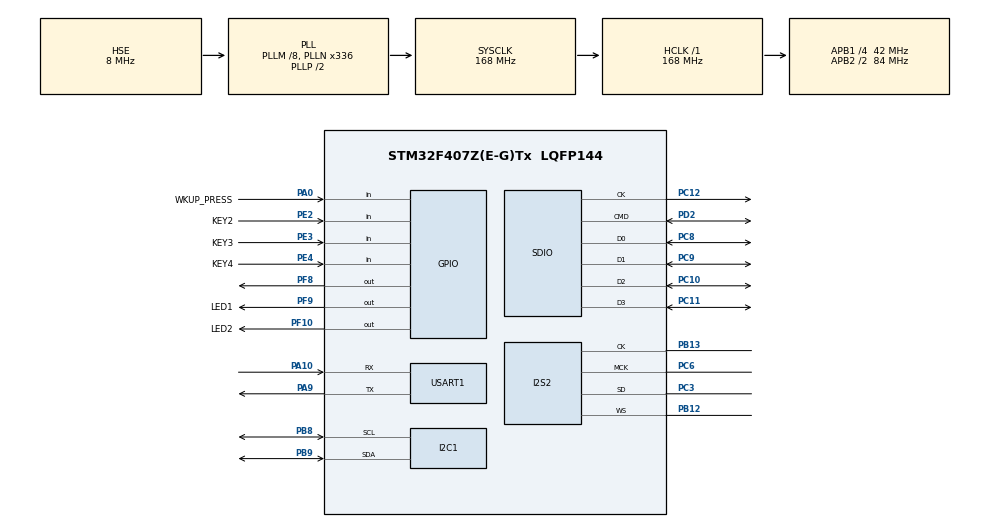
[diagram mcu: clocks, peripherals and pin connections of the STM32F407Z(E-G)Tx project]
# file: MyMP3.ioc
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Dma.Request0=SPI2_TX
Dma.Request1=SDIO_RX
Dma.Request2=SDIO_TX
Dma.SDIO_RX.1.Direction=DMA_PERIPH_TO_MEMORY
Dma.SDIO_RX.1.FIFOMode=DMA_FIFOMODE_ENABLE
Dma.SDIO_RX.1.FIFOThreshold=DMA_FIFO_THRESHOLD_FULL
Dma.SDIO_RX.1.Instance=DMA2_Stream3
Dma.SDIO_RX.1.MemBurst=DMA_MBURST_INC4
Dma.SDIO_RX.1.MemDataAlignment=DMA_MDATAALIGN_WORD
Dma.SDIO_RX.1.MemInc=DMA_MINC_ENABLE
Dma.SDIO_RX.1.Mode=DMA_PFCTRL
Dma.SDIO_RX.1.PeriphBurst=DMA_PBURST_INC4
Dma.SDIO_RX.1.PeriphDataAlignment=DMA_PDATAALIGN_WORD
Dma.SDIO_RX.1.PeriphInc=DMA_PINC_DISABLE
Dma.SDIO_RX.1.Priority=DMA_PRIORITY_LOW
Dma.SDIO_TX.2.Direction=DMA_MEMORY_TO_PERIPH
Dma.SDIO_TX.2.FIFOMode=DMA_FIFOMODE_ENABLE
Dma.SDIO_TX.2.FIFOThreshold=DMA_FIFO_THRESHOLD_FULL
Dma.SDIO_TX.2.Instance=DMA2_Stream6
Dma.SDIO_TX.2.MemBurst=DMA_MBURST_INC4
Dma.SDIO_TX.2.MemDataAlignment=DMA_MDATAALIGN_WORD
Dma.SDIO_TX.2.MemInc=DMA_MINC_ENABLE
Dma.SDIO_TX.2.Mode=DMA_PFCTRL
Dma.SDIO_TX.2.PeriphBurst=DMA_PBURST_INC4
Dma.SDIO_TX.2.PeriphDataAlignment=DMA_PDATAALIGN_WORD
Dma.SDIO_TX.2.PeriphInc=DMA_PINC_DISABLE
Dma.SDIO_TX.2.Priority=DMA_PRIORITY_LOW
Dma.SPI2_TX.0.Direction=DMA_MEMORY_TO_PERIPH
Dma.SPI2_TX.0.FIFOMode=DMA_FIFOMODE_DISABLE
Dma.SPI2_TX.0.Instance=DMA1_Stream4
Dma.SPI2_TX.0.MemDataAlignment=DMA_MDATAALIGN_HALFWORD
Dma.SPI2_TX.0.MemInc=DMA_MINC_ENABLE
Dma.SPI2_TX.0.Mode=DMA_CIRCULAR
Dma.SPI2_TX.0.PeriphDataAlignment=DMA_PDATAALIGN_HALFWORD
Dma.SPI2_TX.0.PeriphInc=DMA_PINC_DISABLE
Dma.SPI2_TX.0.Priority=DMA_PRIORITY_HIGH
FREERTOS.Tasks01=AudioTask,32,6144,StartAudioTask,Default,NULL,Dynamic,NULL,NULL
FREERTOS.configTOTAL_HEAP_SIZE=0xA000
I2S2.AudioFreq=I2S_AUDIOFREQ_44K
I2S2.DataFormat=I2S_DATAFORMAT_16B_EXTENDED
I2S2.ErrorAudioFreq=0.24 %
I2S2.FullDuplexMode=I2S_FULLDUPLEXMODE_DISABLE
I2S2.Instance=SPI$Index
I2S2.RealAudioFreq=44.108 KHz
I2S2.VirtualMode=I2S_MODE_MASTER
Mcu.Family=STM32F4
Mcu.Name=STM32F407Z(E-G)Tx
Mcu.Package=LQFP144
NVIC.DMA1_Stream4_IRQn=true\:5\:0\:false\:false\:true\:true\:false\:true\:true
NVIC.DMA2_Stream3_IRQn=true\:5\:0\:false\:false\:true\:true\:false\:true\:true
NVIC.DMA2_Stream6_IRQn=true\:5\:0\:false\:false\:true\:true\:false\:true\:true
NVIC.PriorityGroup=NVIC_PRIORITYGROUP_4
NVIC.SDIO_IRQn=true\:5\:0\:false\:false\:true\:true\:true\:true\:true
NVIC.SPI2_IRQn=true\:5\:0\:false\:false\:true\:true\:true\:true\:true
NVIC.TIM6_DAC_IRQn=true\:15\:0\:false\:false\:true\:false\:false\:true\:true
NVIC.TimeBase=TIM6_DAC_IRQn
NVIC.TimeBaseIP=TIM6
PA0-WKUP.GPIO_Label=WKUP_PRESS
PA0-WKUP.GPIO_PuPd=GPIO_PULLDOWN
PA0-WKUP.Signal=GPIO_Input
PA10.Mode=Asynchronous
PA10.Signal=USART1_RX
PA13.Mode=Serial_Wire
PA13.Signal=SYS_JTMS-SWDIO
PA14.Mode=Serial_Wire
PA14.Signal=SYS_JTCK-SWCLK
PA9.Mode=Asynchronous
PA9.Signal=USART1_TX
PB12.Mode=Half_Duplex_Master
PB12.Signal=I2S2_WS
PB13.Mode=Half_Duplex_Master
PB13.Signal=I2S2_CK
PB8.Mode=I2C
PB8.Signal=I2C1_SCL
PB9.Mode=I2C
PB9.Signal=I2C1_SDA
PC10.Mode=SD_4_bits_Wide_bus
PC10.Signal=SDIO_D2
PC11.Mode=SD_4_bits_Wide_bus
PC11.Signal=SDIO_D3
PC12.Mode=SD_4_bits_Wide_bus
PC12.Signal=SDIO_CK
PC3.Mode=Half_Duplex_Master
PC3.Signal=I2S2_SD
PC6.Mode=Master_Clock_Activated
PC6.Signal=I2S2_MCK
PC8.Mode=SD_4_bits_Wide_bus
PC8.Signal=SDIO_D0
PC9.Mode=SD_4_bits_Wide_bus
PC9.Signal=SDIO_D1
PD2.Mode=SD_4_bits_Wide_bus
PD2.Signal=SDIO_CMD
PE2.GPIO_Label=KEY2
PE2.GPIO_PuPd=GPIO_PULLUP
PE2.Signal=GPIO_Input
PE3.GPIO_Label=KEY3
PE3.GPIO_PuPd=GPIO_PULLUP
PE3.Signal=GPIO_Input
PE4.GPIO_Label=KEY4
PE4.GPIO_PuPd=GPIO_PULLUP
PE4.Signal=GPIO_Input
PF10.GPIO_Label=LED2
PF10.PinState=GPIO_PIN_SET
PF10.Signal=GPIO_Output
PF8.PinState=GPIO_PIN_RESET
PF8.Signal=GPIO_Output
PF9.GPIO_Label=LED1
PF9.PinState=GPIO_PIN_SET
PF9.Signal=GPIO_Output
PH0-OSC_IN.Mode=HSE-External-Oscillator
PH0-OSC_IN.Signal=RCC_OSC_IN
PH1-OSC_OUT.Mode=HSE-External-Oscillator
PH1-OSC_OUT.Signal=RCC_OSC_OUT
ProjectManager.HeapSize=0x200
ProjectManager.StackSize=0x400
ProjectManager.TargetToolchain=MDK-ARM V5.32
RCC.48MHZClocksFreq_Value=48000000
RCC.AHBFreq_Value=168000000
RCC.APB1CLKDivider=RCC_HCLK_DIV4
RCC.APB1Freq_Value=42000000
RCC.APB1TimFreq_Value=84000000
RCC.APB2CLKDivider=RCC_HCLK_DIV2
RCC.APB2Freq_Value=84000000
RCC.APB2TimFreq_Value=168000000
RCC.CortexFreq_Value=168000000
RCC.HCLKFreq_Value=168000000
RCC.HSE_VALUE=8000000
RCC.HSI_VALUE=16000000
RCC.LSE_VALUE=32768
RCC.PLLI2SN=271
RCC.PLLM=8
RCC.PLLN=336
RCC.PLLQ=7
RCC.PLLSourceVirtual=RCC_PLLSOURCE_HSE
RCC.SYSCLKFreq_VALUE=168000000
RCC.SYSCLKSource=RCC_SYSCLKSOURCE_PLLCLK
RCC.VCOOutputFreq_Value=336000000
USART1.VirtualMode=VM_ASYNC
VP_FATFS_VS_SDIO.Mode=SDIO
VP_FREERTOS_VS_CMSIS_V2.Mode=CMSIS_V2
VP_SYS_VS_tim6.Mode=TIM6
board=custom

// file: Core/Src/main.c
/* USER CODE BEGIN Header */
/**
  ******************************************************************************
  * @file           : main.c
  * @brief          : Main program body
  ******************************************************************************
  * @attention
  *
  * Copyright (c) 2026 STMicroelectronics.
  * All rights reserved.
  *
  * This software is licensed under terms that can be found in the LICENSE file
  * in the root directory of this software component.
  * If no LICENSE file comes with this software, it is provided AS-IS.
  *
  ******************************************************************************
  */
/* USER CODE END Header */
#include "main.h"
#include "cmsis_os.h"
#include "dma.h"
#include "fatfs.h"
#include "i2c.h"
#include "i2s.h"
#include "sdio.h"
#include "usart.h"
#include "gpio.h"

/* USER CODE BEGIN Includes */
#include <stdio.h>
#include "es8388.h"
#include "mp3_player.h"
/* USER CODE END Includes */

void SystemClock_Config(void);
void MX_FREERTOS_Init(void);

int main(void)
{

  /* USER CODE BEGIN 1 */
	uint8_t ret;

  /* USER CODE END 1 */

  /* MCU Configuration--------------------------------------------------------*/

  /* Reset of all peripherals, Initializes the Flash interface and the Systick. */
  HAL_Init();

  /* Configure the system clock */
  SystemClock_Config();

  /* Initialize all configured peripherals */
  MX_GPIO_Init();
  MX_DMA_Init();
  MX_I2C1_Init();
  MX_USART1_UART_Init();
  MX_I2S2_Init();
  MX_SDIO_SD_Init();
  MX_FATFS_Init();
  /* USER CODE BEGIN 2 */
    /* 1. ES8388 初始化 */
    ret = es8388_init(&hi2c1);
    printf("es8388 init = %d\r\n", ret);
    es8388_adda_cfg(1, 0);
    es8388_output_cfg(1, 1);    /* 耳机通道 + 喇叭通道都打开 */
    es8388_hpvol_set(10);
    es8388_spkvol_set(10);

  /* USER CODE END 2 */

  /* Init scheduler */
  osKernelInitialize();  /* Call init function for freertos objects (in cmsis_os2.c) */
  MX_FREERTOS_Init();

  /* Start scheduler */
  osKernelStart();

  /* We should never get here as control is now taken by the scheduler */

  /* Infinite loop */
  while (1)
  {

  }
}

void SystemClock_Config(void)
{
  RCC_OscInitTypeDef RCC_OscInitStruct = {0};
  RCC_ClkInitTypeDef RCC_ClkInitStruct = {0};

  /** Configure the main internal regulator output voltage
  */
  __HAL_RCC_PWR_CLK_ENABLE();
  __HAL_PWR_VOLTAGESCALING_CONFIG(PWR_REGULATOR_VOLTAGE_SCALE1);

  /** Initializes the RCC Oscillators according to the specified parameters
  * in the RCC_OscInitTypeDef structure.
  */
  RCC_OscInitStruct.OscillatorType = RCC_OSCILLATORTYPE_HSE;
  RCC_OscInitStruct.HSEState = RCC_HSE_ON;
  RCC_OscInitStruct.PLL.PLLState = RCC_PLL_ON;
  RCC_OscInitStruct.PLL.PLLSource = RCC_PLLSOURCE_HSE;
  RCC_OscInitStruct.PLL.PLLM = 8;
  RCC_OscInitStruct.PLL.PLLN = 336;
  RCC_OscInitStruct.PLL.PLLP = RCC_PLLP_DIV2;
  RCC_OscInitStruct.PLL.PLLQ = 7;
  if (HAL_RCC_OscConfig(&RCC_OscInitStruct) != HAL_OK)
  {
    Error_Handler();
  }

  /** Initializes the CPU, AHB and APB buses clocks
  */
  RCC_ClkInitStruct.ClockType = RCC_CLOCKTYPE_HCLK|RCC_CLOCKTYPE_SYSCLK
                              |RCC_CLOCKTYPE_PCLK1|RCC_CLOCKTYPE_PCLK2;
  RCC_ClkInitStruct.SYSCLKSource = RCC_SYSCLKSOURCE_PLLCLK;
  RCC_ClkInitStruct.AHBCLKDivider = RCC_SYSCLK_DIV1;
  RCC_ClkInitStruct.APB1CLKDivider = RCC_HCLK_DIV4;
  RCC_ClkInitStruct.APB2CLKDivider = RCC_HCLK_DIV2;

  if (HAL_RCC_ClockConfig(&RCC_ClkInitStruct, FLASH_LATENCY_5) != HAL_OK)
  {
    Error_Handler();
  }
}

/* USER CODE BEGIN 4 */
// 重定向 C 库的 printf 到 USART1
int fputc(int ch, FILE *f)
{
    HAL_UART_Transmit(&huart1, (uint8_t *)&ch, 1, HAL_MAX_DELAY);
    return ch;
}

/* USER CODE END 4 */

void HAL_TIM_PeriodElapsedCallback(TIM_HandleTypeDef *htim)
{
  if (htim->Instance == TIM6)
  {
    HAL_IncTick();
  }
}

void Error_Handler(void)
{
  __disable_irq();
  while (1)
  {
  }
}

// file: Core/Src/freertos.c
/* USER CODE BEGIN Header */
/**
  ******************************************************************************
  * File Name          : freertos.c
  * Description        : Code for freertos applications
  ******************************************************************************
  * @attention
  *
  * Copyright (c) 2026 STMicroelectronics.
  * All rights reserved.
  *
  * This software is licensed under terms that can be found in the LICENSE file
  * in the root directory of this software component.
  * If no LICENSE file comes with this software, it is provided AS-IS.
  *
  ******************************************************************************
  */
/* USER CODE END Header */

#include "FreeRTOS.h"
#include "task.h"
#include "main.h"
#include "cmsis_os.h"

/* USER CODE BEGIN Includes */
#include "mp3_player.h" // 必须有，播放器核心
#include <stdio.h>
#include "fatfs.h"
#include "app_key.h"
#include "playlist.h"
#include "settings.h"
/* USER CODE END Includes */

/* Definitions for AudioTask */
osThreadId_t AudioTaskHandle;
const osThreadAttr_t AudioTask_attributes = {
  .name = "AudioTask",
  .stack_size = 6144 * 4,
  .priority = (osPriority_t) osPriorityAboveNormal,
};//音频任务

/* USER CODE BEGIN FunctionPrototypes */
static uint8_t audio_play_index(uint8_t index);
static void settings_store(void);
/* USER CODE END FunctionPrototypes */

void StartAudioTask(void *argument);

void MX_FREERTOS_Init(void); /* (MISRA C 2004 rule 8.1) */

void MX_FREERTOS_Init(void) {

  /* USER CODE BEGIN RTOS_QUEUES */
  app_key_queue_init();
  /* USER CODE END RTOS_QUEUES */

  /* Create the thread(s) */
  /* creation of AudioTask */
  AudioTaskHandle = osThreadNew(StartAudioTask, NULL, &AudioTask_attributes);

  /* USER CODE BEGIN RTOS_THREADS */
  {
    static const osThreadAttr_t KeyTask_attributes = {
      .name = "KeyTask",
      .stack_size = 1024,                               /* 字节 */
      .priority = (osPriority_t) osPriorityNormal,
    };
    (void)osThreadNew(app_key_task, NULL, &KeyTask_attributes);
  }//按键任务
  /* USER CODE END RTOS_THREADS */

}

void StartAudioTask(void *argument)
{
  /* USER CODE BEGIN StartAudioTask */
    FRESULT res;
    uint8_t cmd;
    uint8_t started = 0;
    uint8_t saved_vol;
    uint8_t saved_track;

    (void)argument;

    /* 1. 挂载 SD 卡 */
    res = f_mount(&SDFatFS, SDPath, 1);
    printf("mount = %d\r\n", res);
    if (res != FR_OK) {
        printf("AudioTask: mount failed, suspend\r\n");
        vTaskSuspend(NULL);
    }

    /* 2. 扫描根目录 MP3，生成播放列表 */
    printf("playlist = %u\r\n", (unsigned)playlist_scan());
    if (playlist_count() == 0) {
        printf("AudioTask: no mp3 found\r\n");
    }

    /* 3. 恢复上电记忆：音量 + 曲目 */
    if (settings_load(&saved_vol, &saved_track)) {
        if (saved_vol < APP_VOL_LEVELS) {
            app_key_volume_set(saved_vol);
        }
        if (saved_track < playlist_count()) {
            playlist_set_current(saved_track);
        }
    }

    if (playlist_count() > 0) {
        started = audio_play_index(playlist_current());
    }

    for (;;)
    {
        /* 3. 待机：阻塞等命令，不占 CPU */
        if (!started) {
            if (!app_key_wait_cmd(0xFFFFFFFFu, &cmd)) continue;

            if (cmd == KEY_CMD_TOGGLE_PLAY || cmd == KEY_CMD_REPLAY) {
                if (playlist_count() > 0) {
                    started = audio_play_index(playlist_current());
                } else {
                    printf("AudioTask: no mp3 found\r\n");
                }
            } else if (cmd == KEY_CMD_NEXT) {
                started = audio_play_index(playlist_next());
            } else if (cmd == KEY_CMD_PREV) {
                started = audio_play_index(playlist_prev());
            } else if (cmd == KEY_CMD_VOL_UP) {
                app_key_volume_up();
                settings_store();
            } else if (cmd == KEY_CMD_VOL_DOWN) {
                app_key_volume_down();
                settings_store();
            }
            continue;
        }

        /* 4. 播放中：喂数据 */
        if (!mp3_player_poll()) {
            printf("AudioTask: Playback done\r\n");
            /* 自动下一首，播完一圈回到第一首 */
            started = audio_play_index(playlist_next());
            continue;
        }

        /* 5. 顺手处理命令，最多等 5ms，保证喂数据节奏 */
        if (app_key_wait_cmd(5, &cmd)) {
            if (cmd == KEY_CMD_TOGGLE_PLAY) {
                if (mp3_player_is_paused()) {
                    mp3_player_resume();
                    printf("resume\r\n");
                } else {
                    mp3_player_pause();
                    printf("pause\r\n");
                }
            } else if (cmd == KEY_CMD_REPLAY) {
                started = audio_play_index(playlist_current());
            } else if (cmd == KEY_CMD_NEXT) {
                started = audio_play_index(playlist_next());
            } else if (cmd == KEY_CMD_PREV) {
                started = audio_play_index(playlist_prev());
            } else if (cmd == KEY_CMD_VOL_UP) {
                app_key_volume_up();
                settings_store();
            } else if (cmd == KEY_CMD_VOL_DOWN) {
                app_key_volume_down();
                settings_store();
            }
        } else {
            osDelay(1);
        }
    }
  /* USER CODE END StartAudioTask */
}

/* USER CODE BEGIN Application */
static void settings_store(void)
{
    if (!settings_save(app_key_volume_get(), playlist_current())) {
        printf("AudioTask: settings save failed\r\n");
    }
}

static uint8_t audio_play_index(uint8_t index)
{
    char path[20];
    int8_t r;
    uint8_t tries;
    uint8_t total = playlist_count();

    if (total == 0) return 0;

    /* 当前曲目打不开时自动跳到下一首，最多绕一圈 */
    for (tries = 0; tries < total; tries++) {
        playlist_set_current(index);
        playlist_path(index, path, sizeof(path));

        mp3_player_stop();              /* 关掉上一首，避免重复打开文件 */
        r = mp3_player_play(&hi2s2, path);
        if (r == MP3_PLAYER_OK) {
            printf("AudioTask: track %u/%u %s %luHz %uch\r\n",
                   (unsigned)(index + 1), (unsigned)total,
                   playlist_name(index),
                   (unsigned long)mp3_player_sample_rate(),
                   (unsigned)mp3_player_channels());
            settings_store();
            return 1;
        }

        printf("AudioTask: play %u failed = %d, try next\r\n",
               (unsigned)(index + 1), (int)r);
        index = playlist_next();
    }

    printf("AudioTask: no playable track\r\n");
    return 0;
}
/* USER CODE END Application */
